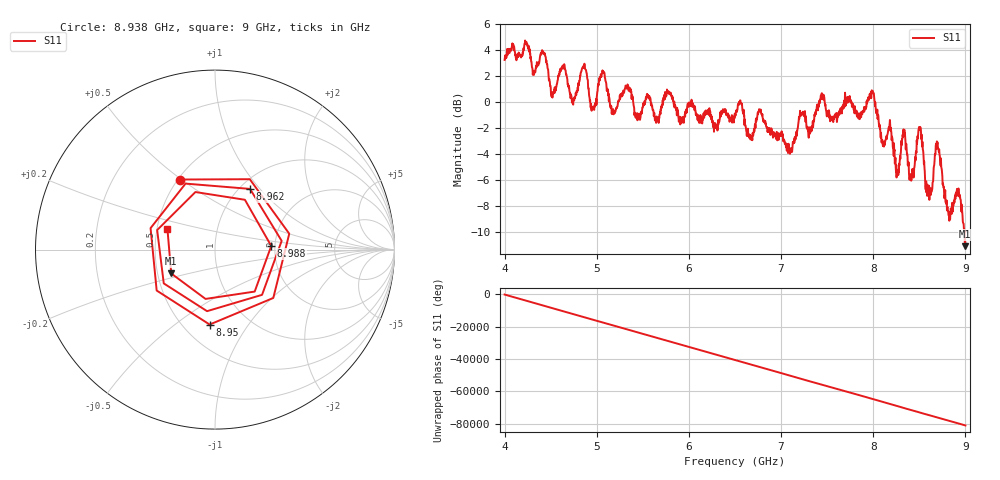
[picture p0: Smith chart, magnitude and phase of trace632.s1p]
! Created with skrf 1.8.0 (http://scikit-rf.org).
# Hz S RI R 50.0
!freq ReS11 ImS11
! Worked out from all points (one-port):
!   1601 points, 4 GHz to 9 GHz, reference 50 ohm
!   lowest |S11| = -11.1 dB at 8.997 GHz (marker M1), VSWR 1.77, Z = 29.5 - j8.5 ohm
!   |S11| at or under -10 dB: 8.987091 GHz to 8.988845 GHz (1.754 MHz wide, 0.0195 % of centre); 8.991378 GHz to end of sweep
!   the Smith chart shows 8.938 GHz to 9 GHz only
!   S11 on the Smith chart (normalised r, x): 8.938 GHz: 0.51, +0.49; 8.95 GHz: 0.67, -0.68; 8.962 GHz: 1.11, +0.89; 8.988 GHz: 1.91, +0.09; 9 GHz: 0.57, +0.14
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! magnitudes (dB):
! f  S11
! 4 GHz  3.3
! 4.419 GHz  3.9
! 4.525 GHz  0.8
! 4.625 GHz  2.6
! 4.741 GHz  0.1
! 4.859 GHz  2.7
! 4.956 GHz  -0.5
! 5.059 GHz  2.3
! 5.25 GHz  0.5
! 5.875 GHz  -1.0
! 6.5 GHz  -1.0
! 7.125 GHz  -3.3
! 7.441 GHz  0.7
! 7.75 GHz  0.2
! 7.988 GHz  0.8
! 8.259 GHz  -5.7
! 8.325 GHz  -2.3
! 8.375 GHz  -4.9
! 8.503 GHz  -2.1
! 8.591 GHz  -7.2
! 8.694 GHz  -3.3
! 8.809 GHz  -8.3
! 8.938 GHz  -7.2
! 8.95 GHz  -7.6
! 8.962 GHz  -8.2
! 8.988 GHz  -10.1
! 8.997 GHz  -11.1
! 9 GHz  -10.8
